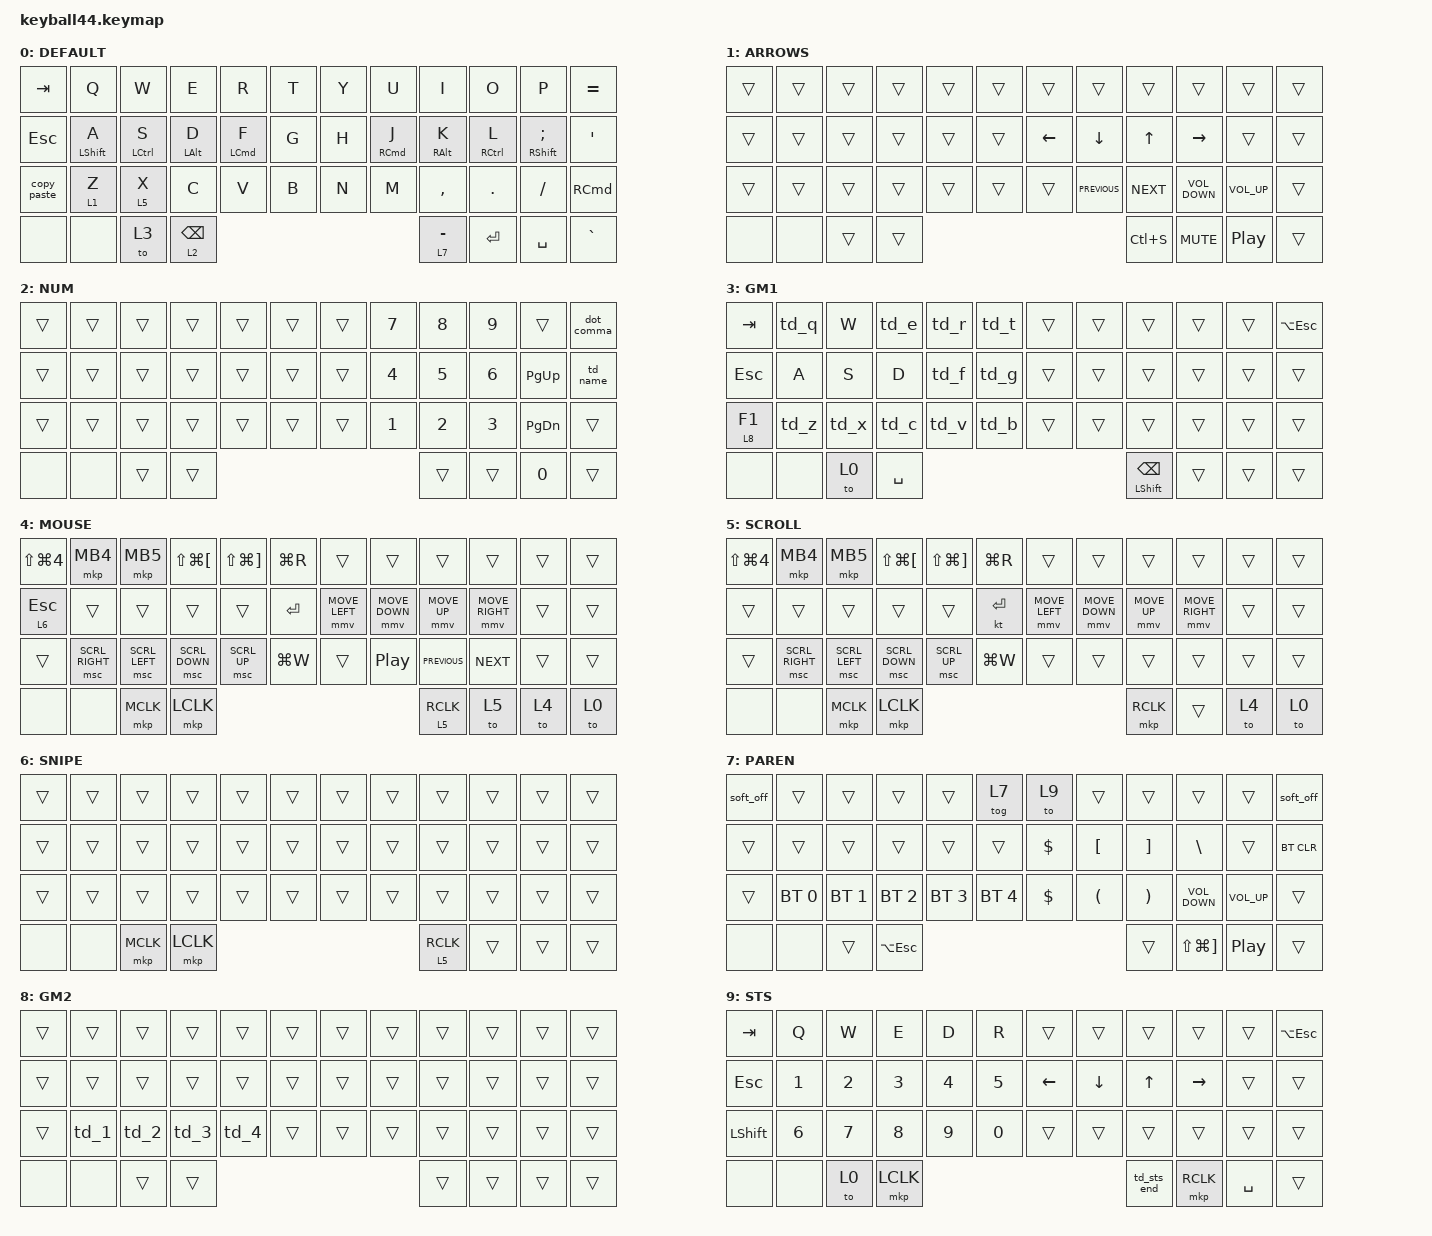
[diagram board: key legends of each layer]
#define DEFAULT 0
#define ARROWS  1
#define NUM     2
#define GM1     3
#define MOUSE   4
#define SCROLL  5
#define SNIPE   6
#define PAREN   7
#define GM2     8
#define STS     9

// override mouse movement speed (for explicit mmv bindings; trackball CPI set via Kconfig)

#define ZMK_POINTING_DEFAULT_MOVE_VAL 3200  // default: 600
#define ZMK_POINTING_DEFAULT_SCRL_VAL 30    // default: 10

#include <behaviors/mouse_keys.dtsi>
#include <behaviors.dtsi>
#include <dt-bindings/zmk/bt.h>
#include <dt-bindings/zmk/keys.h>
#include <dt-bindings/zmk/pointing.h>

/* OS chords are written inline (macOS profile) so keymap-editor can parse this file.
 * To switch to Windows, replace per this table:
 *   LG(R)/LG(W)                -> LC(R)/LC(W)         reload / close tab
 *   LG(C)                      -> LC(INSERT)          copy
 *   LG(V)                      -> LS(INSERT)          paste
 *   LS(LG(LEFT_BRACKET))       -> LC(LS(TAB))         previous tab
 *   LS(LG(RIGHT_BRACKET))      -> LC(TAB)             next tab (also PAREN layer)
 *   LS(LG(NUMBER_4))           -> LG(LS(S))           screenshot
 *   Windows only: win_swap_windows macro + win_monitor_swap combo (Y+U), removed on macOS
 */

&nice_view_spi { cs-gpios = <&pro_micro 1 GPIO_ACTIVE_HIGH>; };

&lt {
    tapping-term-ms = <240>;
    flavor = "balanced";
    quick-tap-ms = <200>;
};

&mt {
    tapping-term-ms = <200>;
    flavor = "tap-preferred";
    quick-tap-ms = <150>;
};

&caps_word { continue-list = <UNDERSCORE MINUS>; };

/ {
    behaviors {
        copy_paste: copy_paste {
            compatible = "zmk,behavior-tap-dance";
            label = "COPY_PASTE";
            #binding-cells = <0>;
            bindings = <&kp LG(C)>, <&kp LG(V)>;
        };

        home_row: home_row {
            compatible = "zmk,behavior-hold-tap";
            label = "HOME_ROW";
            bindings = <&kp>, <&kp>;

            #binding-cells = <2>;
            flavor = "tap-preferred";
            tapping-term-ms = <150>;

            // if a key is tapped again within this window it always sends the tap (no mod),
            // preventing missed repeated letters; matched to the global &mt value for consistency

            quick-tap-ms = <150>;

            // mod only activates if the keyboard was idle for this long before the hold,
            // preventing accidental mods during fast typing rolls; set slightly below tapping-term
            // so it only blocks mid-word sequences without slowing intentional modifier use

            require-prior-idle-ms = <100>;
        };

        dot_comma: dot_comma {
            compatible = "zmk,behavior-tap-dance";
            label = "DOT_COMMA";
            #binding-cells = <0>;
            bindings = <&kp PERIOD>, <&kp COMMA>;
        };

        td_q: td_q {
            compatible = "zmk,behavior-tap-dance";
            label = "TD_Q";
            #binding-cells = <0>;
            bindings = <&kp Q>, <&kp LC(Q)>;

            tapping-term-ms = <175>;
        };

        td_e: td_e {
            compatible = "zmk,behavior-tap-dance";
            label = "TD_E";
            #binding-cells = <0>;
            bindings = <&kp E>, <&kp LC(E)>;

            tapping-term-ms = <175>;
        };

        td_r: td_r {
            compatible = "zmk,behavior-tap-dance";
            label = "TD_R";
            #binding-cells = <0>;
            bindings = <&kp R>, <&kp LC(R)>;

            tapping-term-ms = <175>;
        };

        td_t: td_t {
            compatible = "zmk,behavior-tap-dance";
            label = "TD_T";
            #binding-cells = <0>;
            bindings = <&kp T>, <&kp LC(T)>;

            tapping-term-ms = <175>;
        };

        td_z: td_z {
            compatible = "zmk,behavior-tap-dance";
            label = "TD_Z";
            #binding-cells = <0>;
            bindings = <&kp Z>, <&kp LC(Z)>;

            tapping-term-ms = <175>;
        };

        td_x: td_x {
            compatible = "zmk,behavior-tap-dance";
            label = "TD_X";
            #binding-cells = <0>;
            bindings = <&kp X>, <&kp LC(X)>;

            tapping-term-ms = <175>;
        };

        td_c: td_c {
            compatible = "zmk,behavior-tap-dance";
            label = "TD_C";
            #binding-cells = <0>;
            bindings = <&kp C>, <&kp LC(C)>;

            tapping-term-ms = <175>;
        };

        td_b: td_b {
            compatible = "zmk,behavior-tap-dance";
            label = "TD_B";
            #binding-cells = <0>;
            bindings = <&kp B>, <&kp LC(B)>;

            tapping-term-ms = <175>;
        };

        td_v: td_v {
            compatible = "zmk,behavior-tap-dance";
            label = "TD_V";
            #binding-cells = <0>;
            bindings = <&kp V>, <&kp LC(V)>;

            tapping-term-ms = <175>;
        };

        td_f: td_f {
            compatible = "zmk,behavior-tap-dance";
            label = "TD_F";
            #binding-cells = <0>;
            bindings = <&kp F>, <&kp LC(F)>;

            tapping-term-ms = <175>;
        };

        td_g: td_g {
            compatible = "zmk,behavior-tap-dance";
            label = "TD_G";
            #binding-cells = <0>;
            bindings = <&kp G>, <&kp LC(G)>;

            tapping-term-ms = <175>;
        };

        td_1: td_1 {
            compatible = "zmk,behavior-tap-dance";
            label = "TD_1";
            #binding-cells = <0>;
            bindings = <&kp NUMBER_1>, <&kp LC(NUMBER_1)>;

            tapping-term-ms = <175>;
        };

        td_2: td_2 {
            compatible = "zmk,behavior-tap-dance";
            label = "TD_2";
            #binding-cells = <0>;
            bindings = <&kp NUMBER_2>, <&kp LC(NUMBER_2)>;

            tapping-term-ms = <175>;
        };

        td_3: td_3 {
            compatible = "zmk,behavior-tap-dance";
            label = "TD_3";
            #binding-cells = <0>;
            bindings = <&kp NUMBER_3>, <&kp LC(NUMBER_3)>;

            tapping-term-ms = <175>;
        };

        td_4: td_4 {
            compatible = "zmk,behavior-tap-dance";
            label = "TD_4";
            #binding-cells = <0>;
            bindings = <&kp NUMBER_4>, <&kp LC(NUMBER_4)>;

            tapping-term-ms = <175>;
        };

        td_name: td_name {
            compatible = "zmk,behavior-tap-dance";
            label = "TD_NAME";
            #binding-cells = <0>;
            bindings = <&type_name>, <&type_email>;

            tapping-term-ms = <175>;
        };

        td_sts_end: td_sts_end {
            compatible = "zmk,behavior-tap-dance";
            label = "TD_STS_END";
            #binding-cells = <0>;
            bindings = <&kp ENTER>, <&kp E>;

            tapping-term-ms = <175>;
        };

        mo_mkp: mo_mkp {
            compatible = "zmk,behavior-hold-tap";
            label = "MO_MKP";
            #binding-cells = <2>;
            flavor = "hold-preferred";
            tapping-term-ms = <150>;
            bindings = <&mo>, <&mkp>;
        };
    };

    macros {
        type_name: type_name {
            compatible = "zmk,behavior-macro";
            label = "TYPE_NAME";
            #binding-cells = <0>;
            bindings = <&macro_tap
                &kp B &kp R &kp A &kp D &kp F &kp O &kp R &kp D
                &kp DOT
                &kp W &kp A &kp G &kp N &kp E &kp R>;
        };

        type_email: type_email {
            compatible = "zmk,behavior-macro";
            label = "TYPE_EMAIL";
            #binding-cells = <0>;
            bindings = <&macro_tap
                &kp W &kp A &kp G &kp N &kp E &kp R
                &kp DOT
                &kp B &kp R &kp A &kp D &kp F &kp O &kp R &kp D
                &kp AT_SIGN
                &kp G &kp M &kp A &kp I &kp L
                &kp DOT
                &kp C &kp O &kp M>;
        };
    };

    combos {
        compatible = "zmk,combos";

        // KB44 thumb positions shifted right by 2 vs corne (extra &none keys at 36,37)
        // corne pos 38 → KB44 pos 40  |  corne pos 37 → KB44 pos 39
        // Layer map: corne 5(ploopy)→5(SCROLL), 6(paren)→7(PAREN), 7(mouse)→4(MOUSE)

        to_scroll {
            bindings = <&to 5>;
            key-positions = <40 17>;
            layers = <0 7 4 5>;
        };

        to_home {
            bindings = <&to 0>;
            key-positions = <16 40>;
            layers = <5 0 7 4>;
        };

        to_mouse {
            bindings = <&to 4>;
            key-positions = <40 15>;
            layers = <0 5 7 4>;
        };

        tab_prev {
            bindings = <&kp LS(LG(LEFT_BRACKET))>;
            key-positions = <13 40>;
            layers = <5 7 4 3>;
        };

        tab_next {
            bindings = <&kp LS(LG(RIGHT_BRACKET))>;
            key-positions = <14 40>;
            layers = <3 5 7 4>;
        };

        tab_refresh {
            bindings = <&kp LG(R)>;
            key-positions = <14 13 40>;
            layers = <3 5 7 4>;
        };

        equal {
            bindings = <&kp EQUAL>;
            key-positions = <31 32>;
            layers = <0>;
        };

        backtick-r {
            bindings = <&kp GRAVE>;
            key-positions = <32 33>;
            layers = <0>;
        };

        cmd {
            bindings = <&kp LEFT_COMMAND>;
            key-positions = <26 27>;
            layers = <0 4 6>;
        };

        continuous {
            bindings = <&kp NUMBER_1>;
            key-positions = <28 27>;
            layers = <0>;
        };

        g-grave {
            bindings = <&kp GRAVE>;
            key-positions = <16 39>;
            layers = <3>;
        };

    };

    keymap {
        compatible = "zmk,keymap";

        default_layer {
            label = "DEFAULT";
            bindings = <
&kp TAB      &kp Q                   &kp W              &kp E                 &kp R                     &kp T                 &kp Y      &kp U                      &kp I                  &kp O              &kp P                            &kp EQUAL
&kp ESC      &home_row LEFT_SHIFT A  &home_row LCTRL S  &home_row LEFT_ALT D  &home_row LEFT_COMMAND F  &kp G                 &kp H      &home_row RIGHT_COMMAND J  &home_row RIGHT_ALT K  &home_row RCTRL L  &home_row RIGHT_SHIFT SEMICOLON  &kp SQT
&copy_paste  &lt 1 Z                 &lt 5 X            &kp C                &kp V                     &kp B                 &kp N      &kp M                      &kp COMMA              &kp DOT            &kp FSLH                         &kp RIGHT_COMMAND
&none        &none                   &to 3              &lt 2 BACKSPACE       &lt 7 MINUS                          &kp ENTER  &kp SPACE                                                                                                        &kp GRAVE
            >;
        };

        arrows {
            label = "ARROWS";
            bindings = <
&trans  &trans  &trans  &trans  &trans     &trans                  &trans            &trans          &trans        &trans             &trans           &trans
&trans  &trans  &trans  &trans  &trans     &trans                  &kp LEFT_ARROW    &kp DOWN_ARROW  &kp UP_ARROW  &kp RIGHT_ARROW    &trans           &trans
&trans  &trans  &trans  &trans  &trans     &trans                  &trans            &kp C_PREVIOUS  &kp C_NEXT    &kp C_VOLUME_DOWN  &kp C_VOLUME_UP  &trans
&none   &none   &trans  &trans  &kp LC(S)              &kp C_MUTE  &kp C_PLAY_PAUSE                                                                    &trans
            >;
        };

        numpad {
            label = "NUM";
            bindings = <
&trans  &trans  &trans  &trans  &trans      &trans              &trans  &kp N7        &kp N8        &kp N9        &trans  &dot_comma
&trans  &trans  &trans  &trans  &trans      &trans              &trans  &kp NUMBER_4  &kp N5       &kp NUMBER_6  &kp PG_UP  &td_name
&trans  &trans  &trans  &trans  &trans      &trans              &trans  &kp NUMBER_1  &kp NUMBER_2  &kp NUMBER_3  &kp PG_DN  &trans
&none   &none   &trans  &trans  &trans                  &trans  &kp N0                                                    &trans
            >;
        };

        g1 {
            label = "GM1";
            bindings = <
&kp TAB     &td_q  &kp W  &td_e      &td_r                 &td_t              &trans  &trans  &trans  &trans  &trans  &kp LA(ESCAPE)
&kp ESCAPE  &kp A  &kp S  &kp D      &td_f                 &td_g              &trans  &trans  &trans  &trans  &trans  &trans
&lt 8 F1    &td_z  &td_x  &td_c      &td_v                 &td_b              &trans  &trans  &trans  &trans  &trans  &trans
&none       &none  &to 0  &kp SPACE  &mt LSHIFT BACKSPACE             &trans  &trans                                  &trans
            >;
        };

        mouse_layer {
            label = "MOUSE";

            // automouse-layer = <4> in keyball44_right.overlay activates this layer on trackball movement

            bindings = <
&kp LS(LG(NUMBER_4))            &mkp MB4         &mkp MB5        &kp LS(LG(LEFT_BRACKET))            &kp LS(LG(RIGHT_BRACKET))             &kp LG(R)         &trans          &trans            &trans          &trans           &trans  &trans
&lt 6 ESCAPE          &trans           &trans          &trans                    &trans                     &kp ENTER             &mmv MOVE_LEFT  &mmv MOVE_DOWN    &mmv MOVE_UP    &mmv MOVE_RIGHT  &trans  &trans
&trans                &msc SCRL_RIGHT  &msc SCRL_LEFT  &msc SCRL_DOWN            &msc SCRL_UP               &kp LG(W)         &trans          &kp C_PLAY_PAUSE  &kp C_PREVIOUS  &kp C_NEXT       &trans  &trans
&none                 &none            &mkp MCLK       &mkp LCLK                 &mo_mkp 5 RCLK                            &to 5  &to 4                                                                      &to 0
            >;
        };

        scroll_layer {
            label = "SCROLL";

            // scroll-layers = <5> in keyball44_right.overlay converts trackball to scroll wheel in this layer
            // This layer also contains the ploopy (external trackball) bindings from the corne config

            bindings = <
&kp LS(LG(NUMBER_4))            &mkp MB4         &mkp MB5        &kp LS(LG(LEFT_BRACKET))            &kp LS(LG(RIGHT_BRACKET))             &kp LG(R)          &trans          &trans          &trans        &trans           &trans  &trans
&trans                &trans           &trans          &trans                    &trans                     &kt ENTER              &mmv MOVE_LEFT  &mmv MOVE_DOWN  &mmv MOVE_UP  &mmv MOVE_RIGHT  &trans  &trans
&trans                &msc SCRL_RIGHT  &msc SCRL_LEFT  &msc SCRL_DOWN            &msc SCRL_UP               &kp LG(W)          &trans          &trans          &trans        &trans           &trans  &trans
&none                 &none            &mkp MCLK       &mkp LCLK                 &mkp RCLK                                 &trans  &to 4                                                                  &to 0
            >;
        };

        snipe_layer {
            label = "SNIPE";

            // Hold ESC (lt 6 ESCAPE) in mouse layer to activate. CPI drops to 200 (from 400 normal).
            // snipe-layers = <6> in keyball44_right.overlay, CONFIG_PMW3610_SNIPE_CPI=200 in keyball44_right.conf

            bindings = <
&trans  &trans  &trans     &trans     &trans          &trans              &trans  &trans  &trans  &trans  &trans  &trans
&trans  &trans  &trans     &trans     &trans          &trans              &trans  &trans  &trans  &trans  &trans  &trans
&trans  &trans  &trans     &trans     &trans          &trans              &trans  &trans  &trans  &trans  &trans  &trans
&none   &none   &mkp MCLK  &mkp LCLK  &mo_mkp 5 RCLK              &trans  &trans                                  &trans
            >;
        };

        paren {
            label = "PAREN";
            bindings = <
&soft_off  &trans        &trans        &trans          &trans        &tog 7                                       &to 9       &trans                &trans               &trans         &trans  &soft_off
&trans     &trans        &trans        &trans          &trans        &trans                                       &kp DOLLAR  &kp LEFT_BRACKET      &kp RIGHT_BRACKET      &kp BACKSLASH  &trans  &bt BT_CLR
&trans     &bt BT_SEL 0  &bt BT_SEL 1  &bt BT_SEL 2    &bt BT_SEL 3  &bt BT_SEL 4                                 &kp DOLLAR  &kp LEFT_PARENTHESIS  &kp RIGHT_PARENTHESIS  &kp C_VOLUME_DOWN  &kp C_VOLUME_UP  &trans
&none      &none         &trans        &kp LA(ESCAPE)  &trans                          &kp LS(LG(RIGHT_BRACKET))             &kp C_PP                                                                        &trans
            >;
        };

        gm2 {
            label = "GM2";
            bindings = <
&trans  &trans  &trans  &trans  &trans  &trans              &trans  &trans  &trans  &trans  &trans  &trans
&trans  &trans  &trans  &trans  &trans  &trans              &trans  &trans  &trans  &trans  &trans  &trans
&trans  &td_1   &td_2   &td_3   &td_4   &trans              &trans  &trans  &trans  &trans  &trans  &trans
&none   &none   &trans  &trans  &trans              &trans  &trans                                  &trans
            >;
        };

        sts {
            label = "STS";
            bindings = <
&kp TAB     &kp Q   &kp W   &kp E      &kp D        &kp R                  &trans     &trans    &trans  &trans     &trans  &kp LA(ESCAPE)
&kp ESCAPE  &kp N1  &kp N2  &kp N3     &kp N4       &kp N5                 &kp LEFT   &kp DOWN  &kp UP  &kp RIGHT  &trans  &trans
&kp LSHFT   &kp N6  &kp N7  &kp N8     &kp N9       &kp N0                 &trans     &trans    &trans  &trans     &trans  &trans
&none       &none   &to 0   &mkp LCLK  &td_sts_end              &mkp RCLK  &kp SPACE                                       &trans
            >;
        };
    };
};
